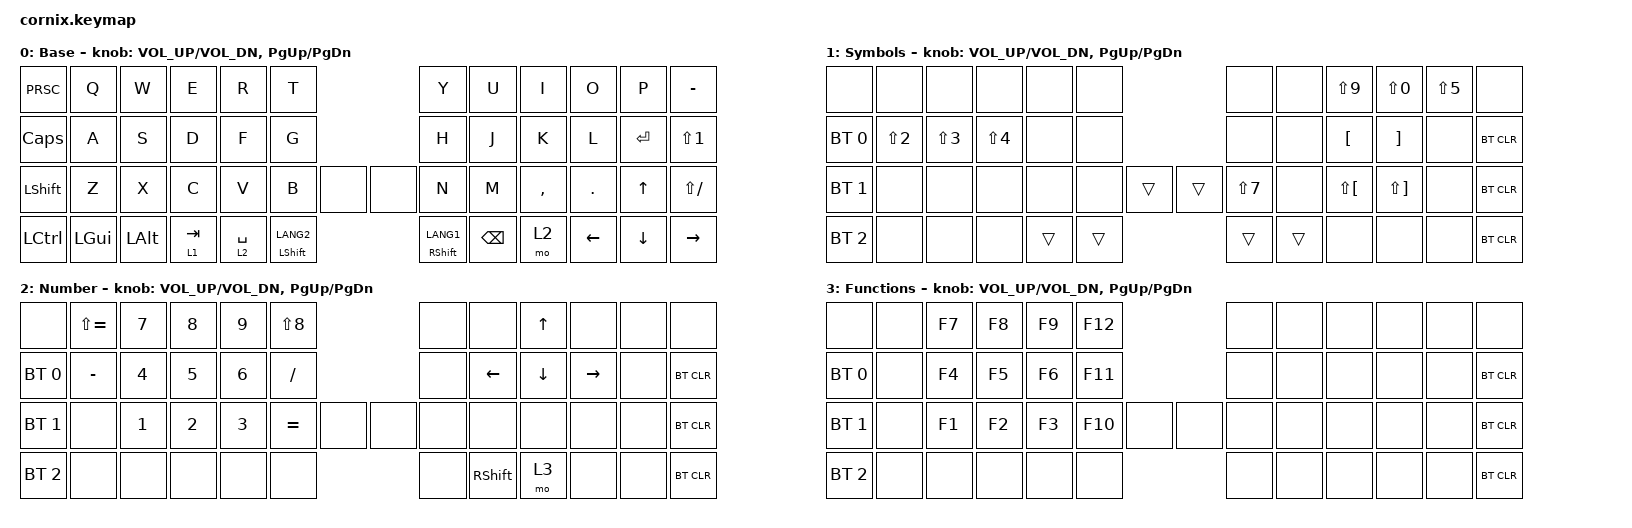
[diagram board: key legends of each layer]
/*
 * Copyright (c) 2020 The ZMK Contributors
 *
 * SPDX-License-Identifier: MIT
 */

/*
 * 2026-05-23: Replaced upstream's complex 8-layer keymap (custom homerow
 * mods, combos, conditional_layers, Win / Adjust / Navi / NumPad / Debug
 * layers) with a slim 4-layer default matching the day-to-day ZMK Studio
 * working state. Intent: a fresh flash or settings reset (cornix_reset.uf2)
 * should land close to actual usage, not the upstream author's untouched
 * setup.
 *
 * ZMK Studio interaction:
 *   - Studio overrides per-layer `bindings` via NVS at runtime; the
 *     `bindings` here are the post-reset / pre-Studio-edit defaults.
 *   - Studio does NOT cover `sensor-bindings` (encoders), combos,
 *     behaviors, conditional_layers or macros — those keep being
 *     controlled by this file at runtime regardless of Studio state.
 */

#include <behaviors.dtsi>
#include <dt-bindings/zmk/bt.h>
#include <dt-bindings/zmk/keys.h>

/ {
    keymap {
        compatible = "zmk,keymap";

        Base {
            display-name = "Base";
            bindings = <
&kp PRSC   &kp Q     &kp W     &kp E      &kp R        &kp T                                                &kp Y            &kp U     &kp I      &kp O     &kp P     &kp MINUS
&kp CAPS   &kp A     &kp S     &kp D      &kp F        &kp G                                                &kp H            &kp J     &kp K      &kp L     &kp RET   &kp LS(N1)
&kp LSHFT  &kp Z     &kp X     &kp C      &kp V        &kp B            &none            &none              &kp N            &kp M     &kp COMMA  &kp DOT   &kp UP    &kp LS(FSLH)
&kp LCTL   &kp LGUI  &kp LALT  &lt 1 TAB  &lt 2 SPACE  &mt LSHFT LANG2                                      &mt RSHFT LANG1  &kp BSPC  &mo 2      &kp LEFT  &kp DOWN  &kp RIGHT
            >;
            sensor-bindings = <&inc_dec_kp C_VOL_UP C_VOL_DN &inc_dec_kp PG_UP PG_DN>;
        };

        Symbols {
            display-name = "Symbols";
            bindings = <
&none         &none       &none       &none       &none  &none                          &none       &none   &kp LS(N9)    &kp LS(N0)    &kp LS(N5)  &none
&bt BT_SEL 0  &kp LS(N2)  &kp LS(N3)  &kp LS(N4)  &none  &none                          &none       &none   &kp LBKT      &kp RBKT      &none       &bt BT_CLR
&bt BT_SEL 1  &none       &none       &none       &none  &none      &trans   &trans    &kp LS(N7)  &none   &kp LS(LBKT)  &kp LS(RBKT)  &none       &bt BT_CLR
&bt BT_SEL 2  &none       &none       &none       &trans &trans                         &trans      &trans  &none         &none         &none       &bt BT_CLR
            >;
            sensor-bindings = <&inc_dec_kp C_VOL_UP C_VOL_DN &inc_dec_kp PG_UP PG_DN>;
        };

        Number {
            display-name = "Number";
            bindings = <
&none         &kp LS(EQUAL)  &kp N7  &kp N8  &kp N9  &kp LS(N8)                  &none  &none      &kp UP     &none      &none  &none
&bt BT_SEL 0  &kp MINUS      &kp N4  &kp N5  &kp N6  &kp FSLH                    &none  &kp LEFT   &kp DOWN   &kp RIGHT  &none  &bt BT_CLR
&bt BT_SEL 1  &none          &kp N1  &kp N2  &kp N3  &kp EQUAL  &none   &none    &none  &none      &none      &none      &none  &bt BT_CLR
&bt BT_SEL 2  &none          &none   &none   &none   &none                       &none  &kp RSHFT  &mo 3      &none      &none  &bt BT_CLR
            >;
            sensor-bindings = <&inc_dec_kp C_VOL_UP C_VOL_DN &inc_dec_kp PG_UP PG_DN>;
        };

        Functions {
            display-name = "Functions";
            bindings = <
&none         &none  &kp F7  &kp F8  &kp F9  &kp F12                  &none  &none  &none  &none  &none  &none
&bt BT_SEL 0  &none  &kp F4  &kp F5  &kp F6  &kp F11                  &none  &none  &none  &none  &none  &bt BT_CLR
&bt BT_SEL 1  &none  &kp F1  &kp F2  &kp F3  &kp F10  &none  &none    &none  &none  &none  &none  &none  &bt BT_CLR
&bt BT_SEL 2  &none  &none   &none   &none   &none                    &none  &none  &none  &none  &none  &bt BT_CLR
            >;
            sensor-bindings = <&inc_dec_kp C_VOL_UP C_VOL_DN &inc_dec_kp PG_UP PG_DN>;
        };
    };
};
